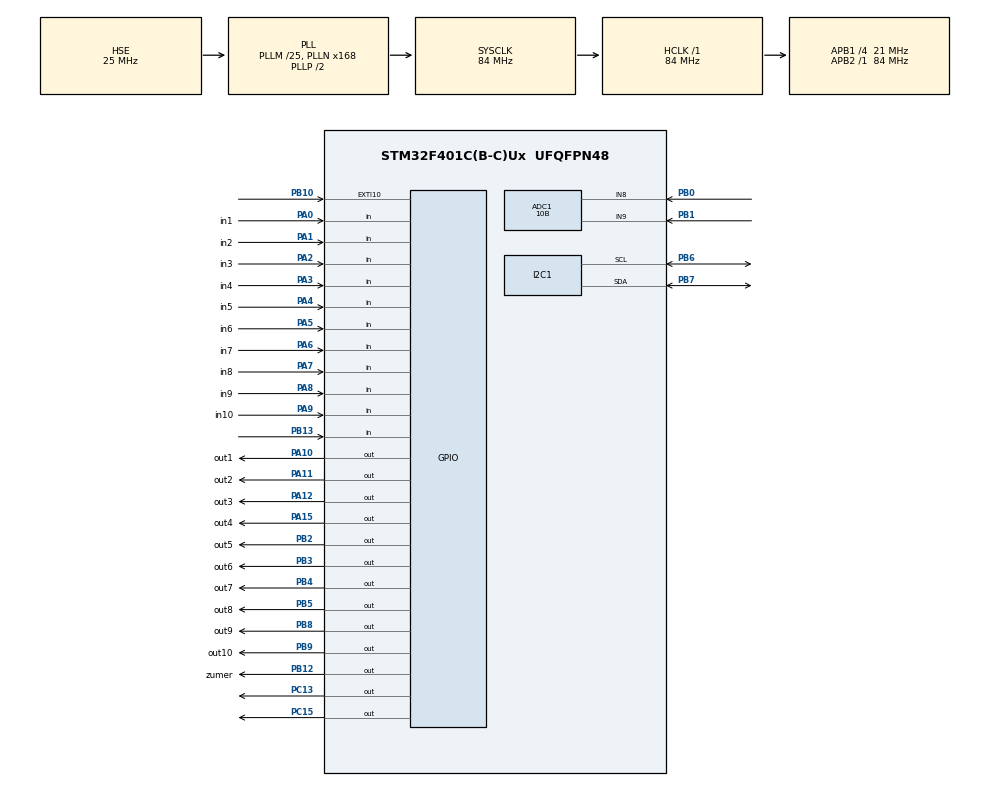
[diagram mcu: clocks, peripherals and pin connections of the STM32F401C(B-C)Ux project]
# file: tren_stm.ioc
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ADC1.Channel-0\#ChannelRegularConversion=ADC_CHANNEL_8
ADC1.NbrOfConversionFlag=1
ADC1.Rank-0\#ChannelRegularConversion=1
ADC1.Resolution=ADC_RESOLUTION_10B
ADC1.SamplingTime-0\#ChannelRegularConversion=ADC_SAMPLETIME_3CYCLES
ADC1.master=1
Mcu.Family=STM32F4
Mcu.Name=STM32F401C(B-C)Ux
Mcu.Package=UFQFPN48
NVIC.EXTI15_10_IRQn=true\:0\:0\:false\:false\:true\:true\:true\:true
NVIC.PriorityGroup=NVIC_PRIORITYGROUP_4
NVIC.TIM1_UP_TIM10_IRQn=true\:0\:0\:false\:false\:true\:true\:true\:true
PA0-WKUP.GPIO_Label=in1
PA0-WKUP.GPIO_PuPd=GPIO_PULLUP
PA0-WKUP.Signal=GPIO_Input
PA1.GPIO_Label=in2
PA1.GPIO_PuPd=GPIO_PULLUP
PA1.Signal=GPIO_Input
PA10.GPIO_Label=out1
PA10.Signal=GPIO_Output
PA11.GPIO_Label=out2
PA11.Signal=GPIO_Output
PA12.GPIO_Label=out3
PA12.Signal=GPIO_Output
PA13.Mode=Serial_Wire
PA13.Signal=SYS_JTMS-SWDIO
PA14.Mode=Serial_Wire
PA14.Signal=SYS_JTCK-SWCLK
PA15.GPIO_Label=out4
PA15.Signal=GPIO_Output
PA2.GPIO_Label=in3
PA2.GPIO_PuPd=GPIO_PULLUP
PA2.Signal=GPIO_Input
PA3.GPIO_Label=in4
PA3.GPIO_PuPd=GPIO_PULLUP
PA3.Signal=GPIO_Input
PA4.GPIO_Label=in5
PA4.GPIO_PuPd=GPIO_PULLUP
PA4.Signal=GPIO_Input
PA5.GPIO_Label=in6
PA5.GPIO_PuPd=GPIO_PULLUP
PA5.Signal=GPIO_Input
PA6.GPIO_Label=in7
PA6.GPIO_PuPd=GPIO_PULLUP
PA6.Signal=GPIO_Input
PA7.GPIO_Label=in8
PA7.GPIO_PuPd=GPIO_PULLUP
PA7.Signal=GPIO_Input
PA8.GPIO_Label=in9
PA8.GPIO_PuPd=GPIO_PULLUP
PA8.Signal=GPIO_Input
PA9.GPIO_Label=in10
PA9.GPIO_PuPd=GPIO_PULLUP
PA9.Signal=GPIO_Input
PB0.Signal=ADCx_IN8
PB1.Signal=ADCx_IN9
PB10.GPIO_ModeDefaultEXTI=GPIO_MODE_IT_FALLING
PB10.GPIO_PuPd=GPIO_PULLUP
PB10.Signal=GPXTI10
PB12.GPIO_Label=zumer
PB12.Signal=GPIO_Output
PB13.GPIO_PuPd=GPIO_PULLUP
PB13.Signal=GPIO_Input
PB2.GPIO_Label=out5
PB2.Signal=GPIO_Output
PB3.GPIO_Label=out6
PB3.Signal=GPIO_Output
PB4.GPIO_Label=out7
PB4.Signal=GPIO_Output
PB5.GPIO_Label=out8
PB5.Signal=GPIO_Output
PB6.GPIO_Pu=GPIO_PULLUP
PB6.Mode=I2C
PB6.Signal=I2C1_SCL
PB7.GPIO_Pu=GPIO_PULLUP
PB7.Mode=I2C
PB7.Signal=I2C1_SDA
PB8.GPIO_Label=out9
PB8.Signal=GPIO_Output
PB9.GPIO_Label=out10
PB9.Signal=GPIO_Output
PC13-ANTI_TAMP.Signal=GPIO_Output
PC15-OSC32_OUT.Signal=GPIO_Output
PH0\ -\ OSC_IN.Mode=HSE-External-Oscillator
PH0\ -\ OSC_IN.Signal=RCC_OSC_IN
PH1\ -\ OSC_OUT.Mode=HSE-External-Oscillator
PH1\ -\ OSC_OUT.Signal=RCC_OSC_OUT
ProjectManager.HeapSize=0x200
ProjectManager.StackSize=0x400
ProjectManager.TargetToolchain=STM32CubeIDE
RCC.48MHZClocksFreq_Value=42000000
RCC.AHBFreq_Value=84000000
RCC.APB1CLKDivider=RCC_HCLK_DIV4
RCC.APB1Freq_Value=21000000
RCC.APB1TimFreq_Value=42000000
RCC.APB2Freq_Value=84000000
RCC.APB2TimFreq_Value=84000000
RCC.CortexFreq_Value=84000000
RCC.HCLKFreq_Value=84000000
RCC.HSE_VALUE=25000000
RCC.HSI_VALUE=16000000
RCC.LSE_VALUE=32768
RCC.PLLM=25
RCC.PLLN=168
RCC.PLLSourceVirtual=RCC_PLLSOURCE_HSE
RCC.SYSCLKFreq_VALUE=84000000
RCC.SYSCLKSource=RCC_SYSCLKSOURCE_PLLCLK
RCC.VCOOutputFreq_Value=168000000
SH.ADCx_IN8.0=ADC1_IN8,IN8
SH.ADCx_IN9.0=ADC1_IN9,IN9
TIM10.AutoReloadPreload=TIM_AUTORELOAD_PRELOAD_DISABLE
TIM10.ClockDivision=TIM_CLOCKDIVISION_DIV1
TIM10.Period=199
TIM10.Prescaler=41999
VP_TIM10_VS_ClockSourceINT.Mode=Enable_Timer
board=custom

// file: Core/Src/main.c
/* USER CODE BEGIN Header */
/**
  ******************************************************************************
  * @file           : main.c
  * @brief          : Main program body
  ******************************************************************************
  * @attention
  *
  * <h2><center>&copy; Copyright (c) 2022 STMicroelectronics.
  * All rights reserved.</center></h2>
  *
  * This software component is licensed by ST under BSD 3-Clause license,
  * the "License"; You may not use this file except in compliance with the
  * License. You may obtain a copy of the License at:
  *                        opensource.org/licenses/BSD-3-Clause
  *
  ******************************************************************************
  */
/* USER CODE END Header */
#include "main.h"

/* USER CODE BEGIN Includes */

#include <stdio.h>
/* USER CODE END Includes */

ADC_HandleTypeDef hadc1;

I2C_HandleTypeDef hi2c1;

TIM_HandleTypeDef htim10;

/* USER CODE BEGIN PV */
char *str;
uint8_t adress_i2c,ledon=1 ,adr[2],flag_beg=0;
uint16_t a,count_timer=0;
const uint8_t temp_numder[7]={2,2,3,5,10,20,50};
uint8_t time_random,random_numder[50],start_play=0,counter_number=0,flag_zumer=0,count_zumer=0,count_mem=0,rand_number_duble_one[50],rand_number_duble_two[50];
uint8_t position=0, flag_onoff=0;
struct adc_k button;
param p_work;
int MyDataOne=823,prob=0;   //  первая переменная для записи
int MyDataTwo=560;   //  вторая  переменная для записи
int *p= &MyDataOne;

/* USER CODE END PV */

void SystemClock_Config(void);
static void MX_GPIO_Init(void);
static void MX_I2C1_Init(void);
static void MX_ADC1_Init(void);
static void MX_TIM10_Init(void);

int main(void)
{

  /* MCU Configuration--------------------------------------------------------*/

  /* Reset of all peripherals, Initializes the Flash interface and the Systick. */
  HAL_Init();

  /* Configure the system clock */
  SystemClock_Config();

  /* Initialize all configured peripherals */
  MX_GPIO_Init();
  MX_I2C1_Init();
  MX_ADC1_Init();
  MX_TIM10_Init();
  /* USER CODE BEGIN 2 */
  lcd_init();
  //HAL_TIM_Base_Start(&htim10);
  HAL_TIM_Base_Start_IT(&htim10);
  /* USER CODE END 2 */

  /* Infinite loop */
  /* USER CODE BEGIN WHILE */
  off_all();
  if(read_adcn()<5) Setbotton();
   HAL_Delay(1000);
  SystemMem();
  indication();
  start_play=3;

while (1)
{
    /* USER CODE END WHILE */

    /* USER CODE BEGIN 3 */
	 lcd_goto(14,1);
	 lcd_number(p_work.bal);
	if(flag_onoff==1)  // стоп/ старт    !(GPIOB->IDR&(GPIO_IDR_ID10)) &&(debonse(20,GPIOB,10))
	{
		start_play=3;
		ledon=0;
		lcd_clear();
		p_work.bal=0;
		off_all();
		while(!(GPIOB->IDR&(GPIO_IDR_ID10)));
		while((GPIOB->IDR&(GPIO_IDR_ID10))&& (debonse(20,GPIOB,10)) )
		{}
		while(!(GPIOB->IDR&(GPIO_IDR_ID10)));
		ledon=1;
		indication();
	}

	if(flag_zumer==1)  // ��������� ������
	{
		p_work.bal==p_work.number_cycles ? ZumerOk():ZumerError();
		flag_zumer=0;
	}
	if(p_work.mode==game_invers || p_work.mode==game_beg)
	{
		proverka(flag_beg);//���� ������ �������� �� ��������  flag_beg � ���� ���� ����� ������
	}

	if((out(p_work.duble_one_flag,p_work.duble_two_flag))==2 && p_work.mode==game_duble)
	{
		flag_beg=0;
	}

	 if(bt_ok()) SetParametrPlay();

   if(!(in_one()) && start_play==0 )  // если нажата первая кнопка
	{
	      p_work.mode==game_duble?randomNumberDuble():RandomNumber();// формируем ряд случайных чисел

	      if(p_work.mode==game_invers || p_work.mode==game_beg||p_work.mode==game_mem)
	    	  	RandomNumber();
	      else if(p_work.mode==game_duble)
				randomNumberDuble();
	      else
	      {

	      }
	   	  counter_number=1;
	      p_work.timer_game=0;
	      HAL_GPIO_WritePin(GPIOA, GPIO_PIN_10, GPIO_PIN_RESET);
	      while(!(in_one()));                                    // пока не отпустили
	      start_play=1;                                         // готовность к запуску
	      if(p_work.mode==game_invers)
	      {

	    	  if (COUNT_LED ==10)
	    	  {
	    		  off_all_invert();
	    	  }
	    	  else
	    	  {
	    		  off_all_invert_half();
	    	  }
	      }
	  }

   if(time_random>50) {time_random=0;} else {time_random++;}       // ��������� Srand

          if(bt_reset())
            {
                 count_timer=0;
    	         while(bt_reset())
    	         {
    	        	 if(count_timer>20) break;
    	         }
    	         if(count_timer>10)
                 {
            	   	 SetMode();
                 }
            else
            {
            	p_work.bal=0;
            	lcd_goto(15,1);
                lcd_string(" ");
                on_one();
                start_play=0;
            }

            }

  HAL_Delay(100);

  }
  /* USER CODE END 3 */
}

void SystemClock_Config(void)
{
  RCC_OscInitTypeDef RCC_OscInitStruct = {0};
  RCC_ClkInitTypeDef RCC_ClkInitStruct = {0};

  /** Configure the main internal regulator output voltage
  */
  __HAL_RCC_PWR_CLK_ENABLE();
  __HAL_PWR_VOLTAGESCALING_CONFIG(PWR_REGULATOR_VOLTAGE_SCALE2);

  /** Initializes the RCC Oscillators according to the specified parameters
  * in the RCC_OscInitTypeDef structure.
  */
  RCC_OscInitStruct.OscillatorType = RCC_OSCILLATORTYPE_HSE;
  RCC_OscInitStruct.HSEState = RCC_HSE_ON;
  RCC_OscInitStruct.PLL.PLLState = RCC_PLL_ON;
  RCC_OscInitStruct.PLL.PLLSource = RCC_PLLSOURCE_HSE;
  RCC_OscInitStruct.PLL.PLLM = 25;
  RCC_OscInitStruct.PLL.PLLN = 168;
  RCC_OscInitStruct.PLL.PLLP = RCC_PLLP_DIV2;
  RCC_OscInitStruct.PLL.PLLQ = 4;
  if (HAL_RCC_OscConfig(&RCC_OscInitStruct) != HAL_OK)
  {
    Error_Handler();
  }

  /** Initializes the CPU, AHB and APB buses clocks
  */
  RCC_ClkInitStruct.ClockType = RCC_CLOCKTYPE_HCLK|RCC_CLOCKTYPE_SYSCLK
                              |RCC_CLOCKTYPE_PCLK1|RCC_CLOCKTYPE_PCLK2;
  RCC_ClkInitStruct.SYSCLKSource = RCC_SYSCLKSOURCE_PLLCLK;
  RCC_ClkInitStruct.AHBCLKDivider = RCC_SYSCLK_DIV1;
  RCC_ClkInitStruct.APB1CLKDivider = RCC_HCLK_DIV4;
  RCC_ClkInitStruct.APB2CLKDivider = RCC_HCLK_DIV1;

  if (HAL_RCC_ClockConfig(&RCC_ClkInitStruct, FLASH_LATENCY_2) != HAL_OK)
  {
    Error_Handler();
  }
}

static void MX_ADC1_Init(void)
{

  ADC_ChannelConfTypeDef sConfig = {0};

  /** Configure the global features of the ADC (Clock, Resolution, Data Alignment and number of conversion)
  */
  hadc1.Instance = ADC1;
  hadc1.Init.ClockPrescaler = ADC_CLOCK_SYNC_PCLK_DIV4;
  hadc1.Init.Resolution = ADC_RESOLUTION_10B;
  hadc1.Init.ScanConvMode = DISABLE;
  hadc1.Init.ContinuousConvMode = DISABLE;
  hadc1.Init.DiscontinuousConvMode = DISABLE;
  hadc1.Init.ExternalTrigConvEdge = ADC_EXTERNALTRIGCONVEDGE_NONE;
  hadc1.Init.ExternalTrigConv = ADC_SOFTWARE_START;
  hadc1.Init.DataAlign = ADC_DATAALIGN_RIGHT;
  hadc1.Init.NbrOfConversion = 1;
  hadc1.Init.DMAContinuousRequests = DISABLE;
  hadc1.Init.EOCSelection = ADC_EOC_SINGLE_CONV;
  if (HAL_ADC_Init(&hadc1) != HAL_OK)
  {
    Error_Handler();
  }

  /** Configure for the selected ADC regular channel its corresponding rank in the sequencer and its sample time.
  */
  sConfig.Channel = ADC_CHANNEL_8;
  sConfig.Rank = 1;
  sConfig.SamplingTime = ADC_SAMPLETIME_3CYCLES;
  if (HAL_ADC_ConfigChannel(&hadc1, &sConfig) != HAL_OK)
  {
    Error_Handler();
  }

}

static void MX_I2C1_Init(void)
{

  hi2c1.Instance = I2C1;
  hi2c1.Init.ClockSpeed = 100000;
  hi2c1.Init.DutyCycle = I2C_DUTYCYCLE_2;
  hi2c1.Init.OwnAddress1 = 0;
  hi2c1.Init.AddressingMode = I2C_ADDRESSINGMODE_7BIT;
  hi2c1.Init.DualAddressMode = I2C_DUALADDRESS_DISABLE;
  hi2c1.Init.OwnAddress2 = 0;
  hi2c1.Init.GeneralCallMode = I2C_GENERALCALL_DISABLE;
  hi2c1.Init.NoStretchMode = I2C_NOSTRETCH_DISABLE;
  if (HAL_I2C_Init(&hi2c1) != HAL_OK)
  {
    Error_Handler();
  }

}

static void MX_TIM10_Init(void)
{

  htim10.Instance = TIM10;
  htim10.Init.Prescaler = 41999;
  htim10.Init.CounterMode = TIM_COUNTERMODE_UP;
  htim10.Init.Period = 199;
  htim10.Init.ClockDivision = TIM_CLOCKDIVISION_DIV1;
  htim10.Init.AutoReloadPreload = TIM_AUTORELOAD_PRELOAD_DISABLE;
  if (HAL_TIM_Base_Init(&htim10) != HAL_OK)
  {
    Error_Handler();
  }

}

static void MX_GPIO_Init(void)
{
  GPIO_InitTypeDef GPIO_InitStruct = {0};

  /* GPIO Ports Clock Enable */
  __HAL_RCC_GPIOC_CLK_ENABLE();
  __HAL_RCC_GPIOH_CLK_ENABLE();
  __HAL_RCC_GPIOA_CLK_ENABLE();
  __HAL_RCC_GPIOB_CLK_ENABLE();

  /*Configure GPIO pin Output Level */
  HAL_GPIO_WritePin(GPIOC, GPIO_PIN_13|GPIO_PIN_15, GPIO_PIN_RESET);

  /*Configure GPIO pin Output Level */
  HAL_GPIO_WritePin(GPIOB, out5_Pin|zumer_Pin|out6_Pin|out7_Pin
                          |out8_Pin|out9_Pin|out10_Pin, GPIO_PIN_RESET);

  /*Configure GPIO pin Output Level */
  HAL_GPIO_WritePin(GPIOA, out1_Pin|out2_Pin|out3_Pin|out4_Pin, GPIO_PIN_RESET);

  /*Configure GPIO pins : PC13 PC15 */
  GPIO_InitStruct.Pin = GPIO_PIN_13|GPIO_PIN_15;
  GPIO_InitStruct.Mode = GPIO_MODE_OUTPUT_PP;
  GPIO_InitStruct.Pull = GPIO_NOPULL;
  GPIO_InitStruct.Speed = GPIO_SPEED_FREQ_LOW;
  HAL_GPIO_Init(GPIOC, &GPIO_InitStruct);

  /*Configure GPIO pins : in1_Pin in2_Pin in3_Pin in4_Pin
                           in5_Pin in6_Pin in7_Pin in8_Pin
                           in9_Pin in10_Pin */
  GPIO_InitStruct.Pin = in1_Pin|in2_Pin|in3_Pin|in4_Pin
                          |in5_Pin|in6_Pin|in7_Pin|in8_Pin
                          |in9_Pin|in10_Pin;
  GPIO_InitStruct.Mode = GPIO_MODE_INPUT;
  GPIO_InitStruct.Pull = GPIO_PULLUP;
  HAL_GPIO_Init(GPIOA, &GPIO_InitStruct);

  /*Configure GPIO pins : out5_Pin zumer_Pin out6_Pin out7_Pin
                           out8_Pin out9_Pin out10_Pin */
  GPIO_InitStruct.Pin = out5_Pin|zumer_Pin|out6_Pin|out7_Pin
                          |out8_Pin|out9_Pin|out10_Pin;
  GPIO_InitStruct.Mode = GPIO_MODE_OUTPUT_PP;
  GPIO_InitStruct.Pull = GPIO_NOPULL;
  GPIO_InitStruct.Speed = GPIO_SPEED_FREQ_LOW;
  HAL_GPIO_Init(GPIOB, &GPIO_InitStruct);

  /*Configure GPIO pin : PB10 */
  GPIO_InitStruct.Pin = GPIO_PIN_10;
  GPIO_InitStruct.Mode = GPIO_MODE_IT_FALLING;
  GPIO_InitStruct.Pull = GPIO_PULLUP;
  HAL_GPIO_Init(GPIOB, &GPIO_InitStruct);

  /*Configure GPIO pin : PB13 */
  GPIO_InitStruct.Pin = GPIO_PIN_13;
  GPIO_InitStruct.Mode = GPIO_MODE_INPUT;
  GPIO_InitStruct.Pull = GPIO_PULLUP;
  HAL_GPIO_Init(GPIOB, &GPIO_InitStruct);

  /*Configure GPIO pins : out1_Pin out2_Pin out3_Pin out4_Pin */
  GPIO_InitStruct.Pin = out1_Pin|out2_Pin|out3_Pin|out4_Pin;
  GPIO_InitStruct.Mode = GPIO_MODE_OUTPUT_PP;
  GPIO_InitStruct.Pull = GPIO_NOPULL;
  GPIO_InitStruct.Speed = GPIO_SPEED_FREQ_LOW;
  HAL_GPIO_Init(GPIOA, &GPIO_InitStruct);

  /* EXTI interrupt init*/
  HAL_NVIC_SetPriority(EXTI15_10_IRQn, 0, 0);
  HAL_NVIC_EnableIRQ(EXTI15_10_IRQn);

}

void Error_Handler(void)
{
  __disable_irq();
  while (1)
  {
  }
}
